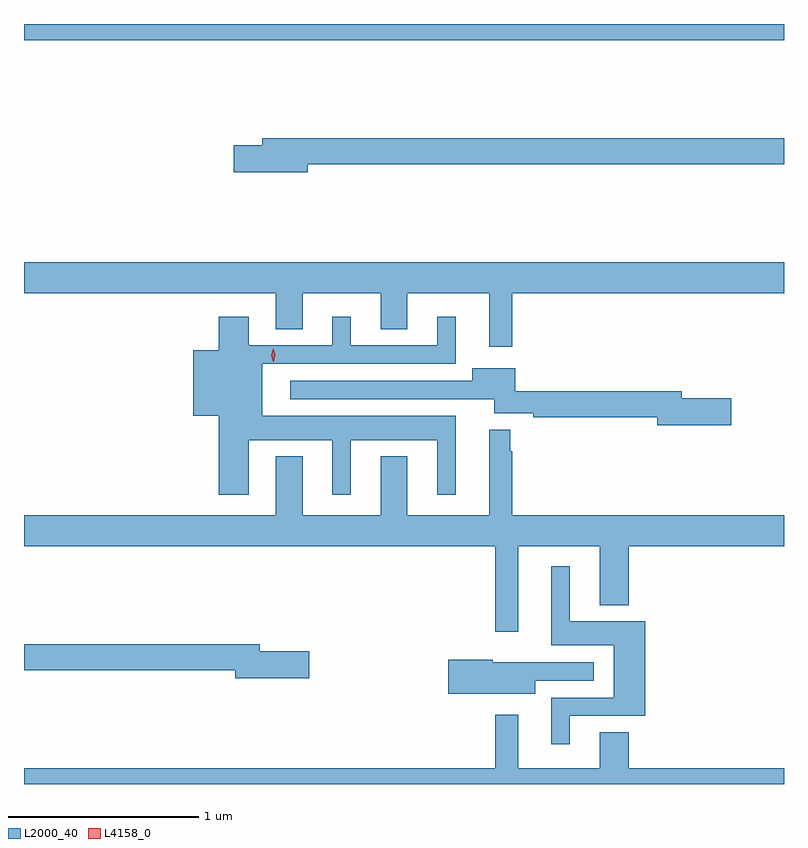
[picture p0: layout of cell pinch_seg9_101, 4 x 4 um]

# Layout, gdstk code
import gdstk
lib = gdstk.Library(unit=1e-6, precision=1e-09)
def R(c, l, rs):  # rectangles x0, y0, x1, y1
    for r in rs: c.add(gdstk.rectangle(r[:2], r[2:], *l))
def P(c, l, *ps):  # polygons
    for p in ps: c.add(gdstk.Polygon(p, *l))
L2000_40 = (2000, 40)
L4158_0 = (4158, 0)

pinch_seg9_101 = lib.new_cell('pinch_seg9_101')
R(pinch_seg9_101, L2000_40, [(1077.983,1196.42,1081.983,1196.505)])
P(pinch_seg9_101, L2000_40, [(1079.476,1195.768),(1081.983,1195.768),(1081.983,1195.904),(1079.237,1195.904),(1079.237,1195.868),(1079.088,1195.868),(1079.088,1195.726),(1079.476,1195.726)],
  [(1080.553,1195.088),(1081.983,1195.088),(1081.983,1195.252),(1077.983,1195.252),(1077.983,1195.088),(1079.309,1195.088),(1079.309,1194.898),(1079.449,1194.898),(1079.449,1195.088),(1079.861,1195.088),(1079.861,1194.898),(1080.001,1194.898),(1080.001,1195.088),(1080.431,1195.088),(1080.431,1194.807),(1080.553,1194.807)],
  [(1079.167,1194.314),(1079.606,1194.314),(1079.606,1194.027),(1079.704,1194.027),(1079.704,1194.314),(1080.158,1194.314),(1080.158,1194.027),(1080.256,1194.027),(1080.256,1194.442),(1079.236,1194.442),(1079.236,1194.717),(1080.256,1194.717),(1080.256,1194.964),(1080.158,1194.964),(1080.158,1194.813),(1079.704,1194.813),(1079.704,1194.964),(1079.606,1194.964),(1079.606,1194.813),(1079.167,1194.813),(1079.167,1194.964),(1079.009,1194.964),(1079.009,1194.787),(1078.874,1194.787),(1078.874,1194.443),(1079.009,1194.443),(1079.009,1194.027),(1079.167,1194.027)],
  [(1081.705,1194.536),(1081.444,1194.536),(1081.444,1194.572),(1080.568,1194.572),(1080.568,1194.694),(1080.341,1194.694),(1080.341,1194.627),(1079.385,1194.627),(1079.385,1194.531),(1080.458,1194.531),(1080.458,1194.456),(1080.664,1194.456),(1080.664,1194.436),(1081.316,1194.436),(1081.316,1194.394),(1081.705,1194.394)],
  [(1080.583,1193.756),(1081.013,1193.756),(1081.013,1193.447),(1081.166,1193.447),(1081.166,1193.756),(1081.983,1193.756),(1081.983,1193.92),(1080.553,1193.92),(1080.553,1194.257),(1080.542,1194.257),(1080.542,1194.37),(1080.431,1194.37),(1080.431,1193.92),(1080.001,1193.92),(1080.001,1194.229),(1079.861,1194.229),(1079.861,1193.92),(1079.449,1193.92),(1079.449,1194.229),(1079.309,1194.229),(1079.309,1193.92),(1077.983,1193.92),(1077.983,1193.756),(1080.462,1193.756),(1080.462,1193.307),(1080.583,1193.307)],
  [(1080.856,1192.863),(1081.252,1192.863),(1081.252,1193.362),(1080.856,1193.362),(1080.856,1193.65),(1080.758,1193.65),(1080.758,1193.234),(1081.088,1193.234),(1081.088,1192.959),(1080.758,1192.959),(1080.758,1192.713),(1080.856,1192.713)],
  [(1079.485,1193.204),(1079.224,1193.204),(1079.224,1193.24),(1077.983,1193.24),(1077.983,1193.104),(1079.096,1193.104),(1079.096,1193.062),(1079.485,1193.062)],
  [(1080.673,1193.049),(1080.982,1193.049),(1080.982,1193.145),(1080.669,1193.145),(1080.669,1193.146),(1080.45,1193.146),(1080.45,1193.159),(1080.216,1193.159),(1080.216,1192.981),(1080.673,1192.981)],
  [(1081.983,1192.588),(1081.166,1192.588),(1081.166,1192.778),(1081.013,1192.778),(1081.013,1192.588),(1080.583,1192.588),(1080.583,1192.87),(1080.462,1192.87),(1080.462,1192.588),(1077.983,1192.588),(1077.983,1192.505),(1081.983,1192.505)])
P(pinch_seg9_101, L4158_0, [(1079.296,1194.728),(1079.296,1194.728),(1079.285,1194.762),(1079.294,1194.797),(1079.294,1194.798),(1079.295,1194.797),(1079.305,1194.763),(1079.297,1194.728)])

lib.write_gds('pinch_seg9_101.gds')
